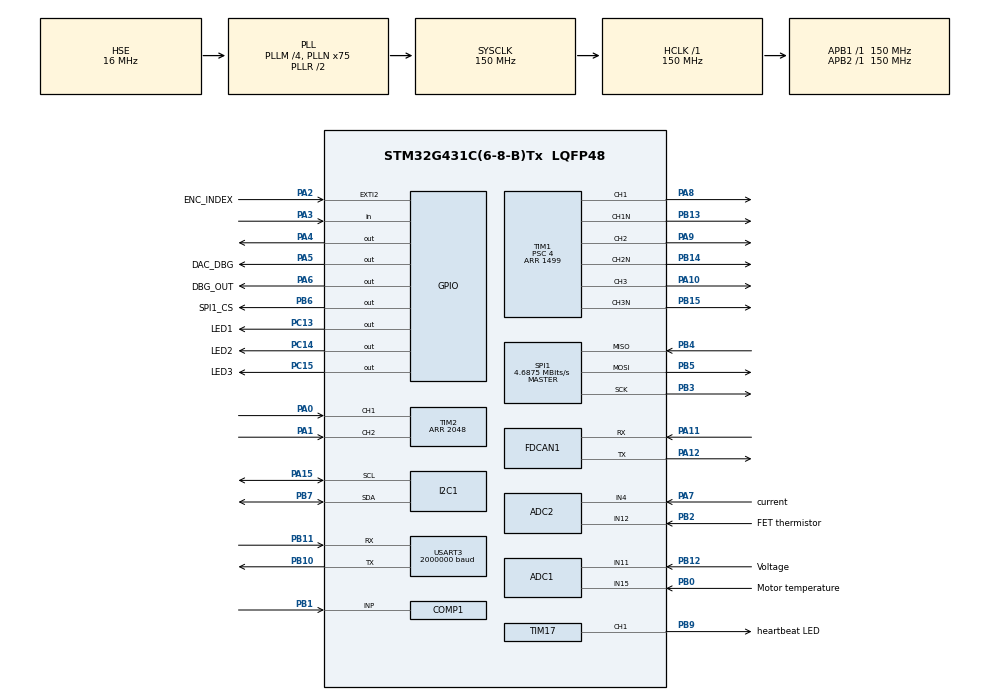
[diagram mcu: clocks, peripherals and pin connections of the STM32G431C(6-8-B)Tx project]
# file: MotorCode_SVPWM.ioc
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ADC1.Channel-1\#ChannelRegularConversion=ADC_CHANNEL_11
ADC1.NbrOfConversionFlag=1
ADC1.OffsetNumber-1\#ChannelRegularConversion=ADC_OFFSET_NONE
ADC1.Rank-1\#ChannelRegularConversion=1
ADC1.SamplingTime-1\#ChannelRegularConversion=ADC_SAMPLETIME_2CYCLES_5
ADC1.master=1
ADC2.Channel-0\#ChannelRegularConversion=ADC_CHANNEL_12
ADC2.NbrOfConversionFlag=1
ADC2.OffsetNumber-0\#ChannelRegularConversion=ADC_OFFSET_NONE
ADC2.Rank-0\#ChannelRegularConversion=1
ADC2.SamplingTime-0\#ChannelRegularConversion=ADC_SAMPLETIME_2CYCLES_5
Dma.Request0=USART3_TX
Dma.USART3_TX.0.Direction=DMA_MEMORY_TO_PERIPH
Dma.USART3_TX.0.EventEnable=DISABLE
Dma.USART3_TX.0.Instance=DMA1_Channel1
Dma.USART3_TX.0.MemDataAlignment=DMA_MDATAALIGN_BYTE
Dma.USART3_TX.0.MemInc=DMA_MINC_ENABLE
Dma.USART3_TX.0.Mode=DMA_NORMAL
Dma.USART3_TX.0.PeriphDataAlignment=DMA_PDATAALIGN_BYTE
Dma.USART3_TX.0.PeriphInc=DMA_PINC_DISABLE
Dma.USART3_TX.0.Polarity=HAL_DMAMUX_REQ_GEN_RISING
Dma.USART3_TX.0.Priority=DMA_PRIORITY_LOW
Dma.USART3_TX.0.RequestNumber=1
Dma.USART3_TX.0.SignalID=NONE
Dma.USART3_TX.0.SyncEnable=DISABLE
Dma.USART3_TX.0.SyncPolarity=HAL_DMAMUX_SYNC_NO_EVENT
Dma.USART3_TX.0.SyncRequestNumber=1
Dma.USART3_TX.0.SyncSignalID=NONE
FDCAN1.AutoRetransmission=ENABLE
FDCAN1.CalculateBaudRateNominal=5000000
FDCAN1.CalculateTimeBitNominal=200
FDCAN1.CalculateTimeQuantumNominal=6.666666666666667
FDCAN1.ClockDivider=FDCAN_CLOCK_DIV10
FDCAN1.DataPrescaler=1
FDCAN1.DataSyncJumpWidth=6
FDCAN1.DataTimeSeg1=23
FDCAN1.DataTimeSeg2=6
FDCAN1.FrameFormat=FDCAN_FRAME_FD_NO_BRS
FDCAN1.Mode=FDCAN_MODE_NORMAL
FDCAN1.NominalPrescaler=1
FDCAN1.NominalSyncJumpWidth=6
FDCAN1.NominalTimeSeg1=23
FDCAN1.NominalTimeSeg2=6
FDCAN1.StdFiltersNbr=1
I2C1.Timing=0x20C0EDFF
Mcu.Family=STM32G4
Mcu.Name=STM32G431C(6-8-B)Tx
Mcu.Package=LQFP48
NVIC.DMA1_Channel1_IRQn=true\:0\:0\:false\:false\:true\:false\:true\:true
NVIC.EXTI2_IRQn=true\:0\:0\:false\:false\:true\:true\:true\:true
NVIC.FDCAN1_IT0_IRQn=true\:0\:0\:false\:false\:true\:true\:true\:true
NVIC.PriorityGroup=NVIC_PRIORITYGROUP_4
NVIC.TIM1_UP_TIM16_IRQn=true\:0\:0\:false\:false\:true\:true\:true\:true
NVIC.TIM7_IRQn=true\:0\:0\:false\:false\:true\:true\:true\:true
NVIC.USART3_IRQn=true\:0\:0\:false\:false\:true\:true\:true\:true
PA0.Signal=S_TIM2_CH1
PA1.Signal=S_TIM2_CH2
PA10.Signal=S_TIM1_CH3
PA11.Mode=FDCAN_Activate
PA11.Signal=FDCAN1_RX
PA12.Mode=FDCAN_Activate
PA12.Signal=FDCAN1_TX
PA13.Mode=Serial_Wire
PA13.Signal=SYS_JTMS-SWDIO
PA14.Mode=Serial_Wire
PA14.Signal=SYS_JTCK-SWCLK
PA15.Mode=I2C
PA15.Signal=I2C1_SCL
PA2.GPIO_Label=ENC_INDEX
PA2.Signal=GPXTI2
PA3.Signal=GPIO_Input
PA4.Signal=GPIO_Output
PA5.GPIO_Label=DAC_DBG
PA5.Signal=GPIO_Output
PA6.GPIO_Label=DBG_OUT
PA6.Signal=GPIO_Output
PA7.GPIO_Label=current
PA7.Mode=IN4-Single-Ended
PA7.Signal=ADC2_IN4
PA8.Signal=S_TIM1_CH1
PA9.Signal=S_TIM1_CH2
PB0.GPIO_Label=Motor temperature
PB0.Mode=IN15-Single-Ended
PB0.Signal=ADC1_IN15
PB1.Mode=INP
PB1.Signal=COMP1_INP
PB10.Mode=Asynchronous
PB10.Signal=USART3_TX
PB11.Mode=Asynchronous
PB11.Signal=USART3_RX
PB12.GPIO_Label=Voltage
PB12.Mode=IN11-Single-Ended
PB12.Signal=ADC1_IN11
PB13.Mode=PWM Generation1 CH1 CH1N
PB13.Signal=TIM1_CH1N
PB14.Mode=PWM Generation2 CH2 CH2N
PB14.Signal=TIM1_CH2N
PB15.Mode=PWM Generation3 CH3 CH3N
PB15.Signal=TIM1_CH3N
PB2.GPIO_Label=FET thermistor
PB2.Mode=IN12-Single-Ended
PB2.Signal=ADC2_IN12
PB3.Mode=Full_Duplex_Master
PB3.Signal=SPI1_SCK
PB4.Mode=Full_Duplex_Master
PB4.Signal=SPI1_MISO
PB5.Mode=Full_Duplex_Master
PB5.Signal=SPI1_MOSI
PB6.GPIO_Label=SPI1_CS
PB6.GPIO_ModeDefaultOutputPP=GPIO_MODE_OUTPUT_PP
PB6.GPIO_PuPd=GPIO_NOPULL
PB6.PinState=GPIO_PIN_RESET
PB6.Signal=GPIO_Output
PB7.Mode=I2C
PB7.Signal=I2C1_SDA
PB9.GPIO_Label=heartbeat LED
PB9.Signal=S_TIM17_CH1
PC13.GPIO_Label=LED1
PC13.GPIO_ModeDefaultOutputPP=GPIO_MODE_OUTPUT_OD
PC13.GPIO_PuPd=GPIO_NOPULL
PC13.Signal=GPIO_Output
PC14-OSC32_IN.GPIO_Label=LED2
PC14-OSC32_IN.GPIO_ModeDefaultOutputPP=GPIO_MODE_OUTPUT_OD
PC14-OSC32_IN.GPIO_PuPd=GPIO_NOPULL
PC14-OSC32_IN.Signal=GPIO_Output
PC15-OSC32_OUT.GPIO_Label=LED3
PC15-OSC32_OUT.GPIO_ModeDefaultOutputPP=GPIO_MODE_OUTPUT_OD
PC15-OSC32_OUT.GPIO_PuPd=GPIO_NOPULL
PC15-OSC32_OUT.Signal=GPIO_Output
PF0-OSC_IN.Mode=HSE-External-Oscillator
PF0-OSC_IN.Signal=RCC_OSC_IN
PF1-OSC_OUT.Mode=HSE-External-Oscillator
PF1-OSC_OUT.Signal=RCC_OSC_OUT
ProjectManager.HeapSize=0x200
ProjectManager.StackSize=0x400
ProjectManager.TargetToolchain=STM32CubeIDE
RCC.ADC12Freq_Value=150000000
RCC.AHBFreq_Value=150000000
RCC.APB1Freq_Value=150000000
RCC.APB1TimFreq_Value=150000000
RCC.APB2Freq_Value=150000000
RCC.APB2TimFreq_Value=150000000
RCC.CortexFreq_Value=150000000
RCC.EXTERNAL_CLOCK_VALUE=12288000
RCC.HCLKFreq_Value=150000000
RCC.HSE_VALUE=16000000
RCC.HSI48_VALUE=48000000
RCC.HSI_VALUE=16000000
RCC.LSE_VALUE=32768
RCC.PLLM=RCC_PLLM_DIV4
RCC.PLLN=75
RCC.PLLSourceVirtual=RCC_PLLSOURCE_HSE
RCC.SYSCLKFreq_VALUE=150000000
RCC.SYSCLKSource=RCC_SYSCLKSOURCE_PLLCLK
RCC.USBFreq_Value=150000000
RCC.VCOOutputFreq_Value=300000000
SH.S_TIM17_CH1.0=TIM17_CH1,PWM Generation1 CH1
SH.S_TIM1_CH1.0=TIM1_CH1,PWM Generation1 CH1 CH1N
SH.S_TIM1_CH2.0=TIM1_CH2,PWM Generation2 CH2 CH2N
SH.S_TIM1_CH3.0=TIM1_CH3,PWM Generation3 CH3 CH3N
SH.S_TIM2_CH1.0=TIM2_CH1,Encoder_Interface
SH.S_TIM2_CH2.0=TIM2_CH2,Encoder_Interface
SPI1.BaudRatePrescaler=SPI_BAUDRATEPRESCALER_32
SPI1.CLKPhase=SPI_PHASE_2EDGE
SPI1.CalculateBaudRate=4.6875 MBits/s
SPI1.DataSize=SPI_DATASIZE_8BIT
SPI1.Direction=SPI_DIRECTION_2LINES
SPI1.Mode=SPI_MODE_MASTER
SPI1.VirtualType=VM_MASTER
TIM1.Channel-PWM\ Generation1\ CH1\ CH1N=TIM_CHANNEL_1
TIM1.Channel-PWM\ Generation2\ CH2\ CH2N=TIM_CHANNEL_2
TIM1.Channel-PWM\ Generation3\ CH3\ CH3N=TIM_CHANNEL_3
TIM1.CounterMode=TIM_COUNTERMODE_CENTERALIGNED1
TIM1.DeadTime=90
TIM1.DeadTimePreload=ENABLE
TIM1.OCMode_PWM-PWM\ Generation1\ CH1\ CH1N=TIM_OCMODE_PWM1
TIM1.OCNIdleState_1=TIM_OCNIDLESTATE_SET
TIM1.OCNIdleState_2=TIM_OCNIDLESTATE_SET
TIM1.OCNIdleState_3=TIM_OCNIDLESTATE_SET
TIM1.OCNPolarity_1=TIM_OCNPOLARITY_LOW
TIM1.OCNPolarity_2=TIM_OCNPOLARITY_LOW
TIM1.OCNPolarity_3=TIM_OCNPOLARITY_LOW
TIM1.PeriodNoDither=1499
TIM1.Prescaler=4
TIM17.Channel=TIM_CHANNEL_1
TIM17.ClockDivision=TIM_CLOCKDIVISION_DIV4
TIM17.PeriodNoDither=99
TIM17.Prescaler=169
TIM2.AutoReloadPreload=TIM_AUTORELOAD_PRELOAD_DISABLE
TIM2.CounterMode=TIM_COUNTERMODE_DOWN
TIM2.EncoderMode=TIM_ENCODERMODE_TI12
TIM2.PeriodNoDither=2048
TIM7.AutoReloadPreload=TIM_AUTORELOAD_PRELOAD_ENABLE
TIM7.PeriodNoDither=1499
TIM7.Prescaler=99
TIM7.TIM_MasterOutputTrigger=TIM_TRGO_RESET
USART3.BaudRate=2000000
USART3.Mode=MODE_TX
USART3.VirtualMode-Asynchronous=VM_ASYNC
VP_COMP1_VS_DAC3OUT1.Mode=INM_DAC3OUT1
VP_DAC3_VS_DACI1.Mode=DAC_OUT1_Int
VP_SYS_VS_DBSignals.Mode=DisableDeadBatterySignals
VP_TIM17_VS_ClockSourceINT.Mode=Enable_Timer
VP_TIM1_VS_ClockSourceINT.Mode=Internal
VP_TIM7_VS_ClockSourceINT.Mode=Enable_Timer
board=custom

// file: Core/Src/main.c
/* USER CODE BEGIN Header */
/**
  ******************************************************************************
  * @file           : main.c
  * @brief          : Main program body
  ******************************************************************************
  * @attention
  *
  * Copyright (c) 2023 STMicroelectronics.
  * All rights reserved.
  *
  * This software is licensed under terms that can be found in the LICENSE file
  * in the root directory of this software component.
  * If no LICENSE file comes with this software, it is provided AS-IS.
  *
  ******************************************************************************
  */
/* USER CODE END Header */
#include "main.h"

/* USER CODE BEGIN Includes */
#include "AS5x47P.h"
#include "EncoderCalibration.h"
#include "SVPWM.h"
/* USER CODE END Includes */

/* USER CODE BEGIN PD */
#define SPI_RDNG_TO_MECH_ANGLE 0.0220 // (360/16384)
#define SPI_RDNG_TO_ENC_CNT  0.125 // (2048/16384 = 0.122)
#define ENC_CNT_TO_MECH_ANGLE 0.1758  // (360/2048)
/* USER CODE END PD */

ADC_HandleTypeDef hadc1;
ADC_HandleTypeDef hadc2;

COMP_HandleTypeDef hcomp1;

DAC_HandleTypeDef hdac3;

FDCAN_HandleTypeDef hfdcan1;

I2C_HandleTypeDef hi2c1;

SPI_HandleTypeDef hspi1;

TIM_HandleTypeDef htim1;
TIM_HandleTypeDef htim2;
TIM_HandleTypeDef htim7;
TIM_HandleTypeDef htim17;

UART_HandleTypeDef huart3;
DMA_HandleTypeDef hdma_usart3_tx;

/* USER CODE BEGIN PV */
RotorSpeedPos rtrSpdPosObj;
SVPWM svpwmObj;

/* USER CODE END PV */

void SystemClock_Config(void);
static void MX_GPIO_Init(void);
static void MX_DMA_Init(void);
static void MX_ADC1_Init(void);
static void MX_ADC2_Init(void);
static void MX_COMP1_Init(void);
static void MX_DAC3_Init(void);
static void MX_FDCAN1_Init(void);
static void MX_I2C1_Init(void);
static void MX_SPI1_Init(void);
static void MX_TIM1_Init(void);
static void MX_TIM2_Init(void);
static void MX_TIM17_Init(void);
static void MX_USART3_UART_Init(void);
static void MX_TIM7_Init(void);

/* USER CODE BEGIN 0 */
Settings1 settings1Reg;
Settings2 settings2Reg;
uint8_t abiSettingsOK = 0;
uint16_t zeroPos;
uint8_t zeroRegisterUpdated = 0;
uint16_t startingAngle16Bit= 0;
float startingAngleMech = 0;
int startingCNT_val = 0;
float angleMech_encCnt = 0;
uint16_t encoderCNT = 0;

uint8_t motorStart = 0;

uint16_t angleData = 0;
uint16_t angleMech = 0;
uint16_t target = 0;
/* USER CODE END 0 */

int main(void)
{

  /* MCU Configuration--------------------------------------------------------*/

  /* Reset of all peripherals, Initializes the Flash interface and the Systick. */
  HAL_Init();

  /* Configure the system clock */
  SystemClock_Config();

  /* Initialize all configured peripherals */
  MX_GPIO_Init();
  MX_DMA_Init();
  MX_ADC1_Init();
  MX_ADC2_Init();
  MX_COMP1_Init();
  MX_DAC3_Init();
  MX_FDCAN1_Init();
  MX_I2C1_Init();
  MX_SPI1_Init();
  MX_TIM1_Init();
  MX_TIM2_Init();
  MX_TIM17_Init();
  MX_USART3_UART_Init();
  MX_TIM7_Init();
  /* USER CODE BEGIN 2 */

  HAL_GPIO_WritePin(SPI1_CS_GPIO_Port, SPI1_CS_Pin, GPIO_PIN_SET);
  //SET UP ABI mode.
  SetupABIwithoutPWM();
  settings1Reg.raw = AS5047_readRegister(SETTINGS1_REG,0);
  settings2Reg.raw = AS5047_readRegister(SETTINGS2_REG,0);
  abiSettingsOK = Check_ABI_SetCorrectly(settings1Reg,settings2Reg);

  uint16_t zeroValue = 1175;
  zeroPos = getProgrammedZeroOffset();
  zeroRegisterUpdated = 0;
  if (zeroPos != zeroValue){
	writeZeroReg(zeroValue); //function must check if it got back the same value it wrote.
	zeroRegisterUpdated = 1;
	zeroPos = getProgrammedZeroOffset();
	//to check if this value is same as what we wrote
  }

  //start the encoder
  HAL_TIM_Encoder_Start_IT(&htim2,TIM_CHANNEL_ALL);
  //get the current angle and set it in the timer CNT register.
  startingAngle16Bit = GetAveragedAngleReading(10);  // take the average of 10 readings and then take that as the starting angle.
  startingAngleMech = startingAngle16Bit * SPI_RDNG_TO_MECH_ANGLE;
  startingCNT_val = (int)((startingAngle16Bit * SPI_RDNG_TO_ENC_CNT)+0.5f); // rounded
  __HAL_TIM_SET_COUNTER(&htim2,startingCNT_val);

  //SETUP SVPWM
  initSVPWM(&svpwmObj);
  init_RtrSpdPos(&rtrSpdPosObj,startingAngle16Bit); // set the rotor to the current rotor position

  //HAL_TIM_Base_Start_IT(&htim7); // 1 ms interrupt for speed calculation

  //Start PWM

  HAL_TIM_Base_Start_IT(&htim1);
  HAL_TIM_PWM_Start_IT(&htim1,TIM_CHANNEL_1);
  HAL_TIMEx_PWMN_Start_IT(&htim1,TIM_CHANNEL_1);

  HAL_TIM_PWM_Start_IT(&htim1,TIM_CHANNEL_2);
  HAL_TIMEx_PWMN_Start_IT(&htim1,TIM_CHANNEL_2);

  HAL_TIM_PWM_Start_IT(&htim1,TIM_CHANNEL_3);
  HAL_TIMEx_PWMN_Start_IT(&htim1,TIM_CHANNEL_3);

  htim1.Instance->CCR1 = 0; // highest value is 1499
  htim1.Instance->CCR2 = 0; // highest value is 1499
  htim1.Instance->CCR3 = 0; // highest value is 1499

  /* USER CODE END 2 */

  /* Infinite loop */
  /* USER CODE BEGIN WHILE */
  while (1)
  {
	  HAL_GPIO_TogglePin(GPIOC,LED1_Pin);
	  HAL_Delay(100);
	  HAL_GPIO_TogglePin(GPIOC,LED2_Pin);
	  HAL_Delay(100);
	  HAL_GPIO_TogglePin(GPIOC,LED3_Pin);
	  HAL_Delay(100);
	  //motorStart = 1;

	  rtrSpdPosObj.MSpd_RPM = target;
	  update_RtrSpd(&rtrSpdPosObj); // goes later into a  1ms timer

	  //angleData =  AS5047_readRegister(ANGLE_REG,0)//TODO why does this fn not work?;

	  /* To check if the ABI connections are correct, read both the SPI and the Enc counts and make sure they are very close
   	   to each other and increase in the same direction! */
	  encoderCNT = htim2.Instance->CNT;
	  angleMech_encCnt = encoderCNT * ENC_CNT_TO_MECH_ANGLE;

	  angleData = angleReading();
	  angleMech = angleData*360.0/16384;

    /* USER CODE END WHILE */

  }
}

void SystemClock_Config(void)
{
  RCC_OscInitTypeDef RCC_OscInitStruct = {0};
  RCC_ClkInitTypeDef RCC_ClkInitStruct = {0};

  /** Configure the main internal regulator output voltage
  */
  HAL_PWREx_ControlVoltageScaling(PWR_REGULATOR_VOLTAGE_SCALE1);

  /** Initializes the RCC Oscillators according to the specified parameters
  * in the RCC_OscInitTypeDef structure.
  */
  RCC_OscInitStruct.OscillatorType = RCC_OSCILLATORTYPE_HSE;
  RCC_OscInitStruct.HSEState = RCC_HSE_ON;
  RCC_OscInitStruct.PLL.PLLState = RCC_PLL_ON;
  RCC_OscInitStruct.PLL.PLLSource = RCC_PLLSOURCE_HSE;
  RCC_OscInitStruct.PLL.PLLM = RCC_PLLM_DIV4;
  RCC_OscInitStruct.PLL.PLLN = 75;
  RCC_OscInitStruct.PLL.PLLP = RCC_PLLP_DIV2;
  RCC_OscInitStruct.PLL.PLLQ = RCC_PLLQ_DIV2;
  RCC_OscInitStruct.PLL.PLLR = RCC_PLLR_DIV2;
  if (HAL_RCC_OscConfig(&RCC_OscInitStruct) != HAL_OK)
  {
    Error_Handler();
  }

  /** Initializes the CPU, AHB and APB buses clocks
  */
  RCC_ClkInitStruct.ClockType = RCC_CLOCKTYPE_HCLK|RCC_CLOCKTYPE_SYSCLK
                              |RCC_CLOCKTYPE_PCLK1|RCC_CLOCKTYPE_PCLK2;
  RCC_ClkInitStruct.SYSCLKSource = RCC_SYSCLKSOURCE_PLLCLK;
  RCC_ClkInitStruct.AHBCLKDivider = RCC_SYSCLK_DIV1;
  RCC_ClkInitStruct.APB1CLKDivider = RCC_HCLK_DIV1;
  RCC_ClkInitStruct.APB2CLKDivider = RCC_HCLK_DIV1;

  if (HAL_RCC_ClockConfig(&RCC_ClkInitStruct, FLASH_LATENCY_4) != HAL_OK)
  {
    Error_Handler();
  }
}

static void MX_ADC1_Init(void)
{

  ADC_MultiModeTypeDef multimode = {0};
  ADC_ChannelConfTypeDef sConfig = {0};

  /** Common config
  */
  hadc1.Instance = ADC1;
  hadc1.Init.ClockPrescaler = ADC_CLOCK_SYNC_PCLK_DIV4;
  hadc1.Init.Resolution = ADC_RESOLUTION_12B;
  hadc1.Init.DataAlign = ADC_DATAALIGN_RIGHT;
  hadc1.Init.GainCompensation = 0;
  hadc1.Init.ScanConvMode = ADC_SCAN_DISABLE;
  hadc1.Init.EOCSelection = ADC_EOC_SINGLE_CONV;
  hadc1.Init.LowPowerAutoWait = DISABLE;
  hadc1.Init.ContinuousConvMode = DISABLE;
  hadc1.Init.NbrOfConversion = 1;
  hadc1.Init.DiscontinuousConvMode = DISABLE;
  hadc1.Init.ExternalTrigConv = ADC_SOFTWARE_START;
  hadc1.Init.ExternalTrigConvEdge = ADC_EXTERNALTRIGCONVEDGE_NONE;
  hadc1.Init.DMAContinuousRequests = DISABLE;
  hadc1.Init.Overrun = ADC_OVR_DATA_PRESERVED;
  hadc1.Init.OversamplingMode = DISABLE;
  if (HAL_ADC_Init(&hadc1) != HAL_OK)
  {
    Error_Handler();
  }

  /** Configure the ADC multi-mode
  */
  multimode.Mode = ADC_MODE_INDEPENDENT;
  if (HAL_ADCEx_MultiModeConfigChannel(&hadc1, &multimode) != HAL_OK)
  {
    Error_Handler();
  }

  /** Configure Regular Channel
  */
  sConfig.Channel = ADC_CHANNEL_11;
  sConfig.Rank = ADC_REGULAR_RANK_1;
  sConfig.SamplingTime = ADC_SAMPLETIME_2CYCLES_5;
  sConfig.SingleDiff = ADC_SINGLE_ENDED;
  sConfig.OffsetNumber = ADC_OFFSET_NONE;
  sConfig.Offset = 0;
  if (HAL_ADC_ConfigChannel(&hadc1, &sConfig) != HAL_OK)
  {
    Error_Handler();
  }

}

static void MX_ADC2_Init(void)
{

  ADC_ChannelConfTypeDef sConfig = {0};

  /** Common config
  */
  hadc2.Instance = ADC2;
  hadc2.Init.ClockPrescaler = ADC_CLOCK_SYNC_PCLK_DIV4;
  hadc2.Init.Resolution = ADC_RESOLUTION_12B;
  hadc2.Init.DataAlign = ADC_DATAALIGN_RIGHT;
  hadc2.Init.GainCompensation = 0;
  hadc2.Init.ScanConvMode = ADC_SCAN_DISABLE;
  hadc2.Init.EOCSelection = ADC_EOC_SINGLE_CONV;
  hadc2.Init.LowPowerAutoWait = DISABLE;
  hadc2.Init.ContinuousConvMode = DISABLE;
  hadc2.Init.NbrOfConversion = 1;
  hadc2.Init.DiscontinuousConvMode = DISABLE;
  hadc2.Init.ExternalTrigConv = ADC_SOFTWARE_START;
  hadc2.Init.ExternalTrigConvEdge = ADC_EXTERNALTRIGCONVEDGE_NONE;
  hadc2.Init.DMAContinuousRequests = DISABLE;
  hadc2.Init.Overrun = ADC_OVR_DATA_PRESERVED;
  hadc2.Init.OversamplingMode = DISABLE;
  if (HAL_ADC_Init(&hadc2) != HAL_OK)
  {
    Error_Handler();
  }

  /** Configure Regular Channel
  */
  sConfig.Channel = ADC_CHANNEL_12;
  sConfig.Rank = ADC_REGULAR_RANK_1;
  sConfig.SamplingTime = ADC_SAMPLETIME_2CYCLES_5;
  sConfig.SingleDiff = ADC_SINGLE_ENDED;
  sConfig.OffsetNumber = ADC_OFFSET_NONE;
  sConfig.Offset = 0;
  if (HAL_ADC_ConfigChannel(&hadc2, &sConfig) != HAL_OK)
  {
    Error_Handler();
  }

}

static void MX_COMP1_Init(void)
{

  hcomp1.Instance = COMP1;
  hcomp1.Init.InputPlus = COMP_INPUT_PLUS_IO2;
  hcomp1.Init.InputMinus = COMP_INPUT_MINUS_DAC3_CH1;
  hcomp1.Init.OutputPol = COMP_OUTPUTPOL_NONINVERTED;
  hcomp1.Init.Hysteresis = COMP_HYSTERESIS_NONE;
  hcomp1.Init.BlankingSrce = COMP_BLANKINGSRC_NONE;
  hcomp1.Init.TriggerMode = COMP_TRIGGERMODE_NONE;
  if (HAL_COMP_Init(&hcomp1) != HAL_OK)
  {
    Error_Handler();
  }

}

static void MX_DAC3_Init(void)
{

  DAC_ChannelConfTypeDef sConfig = {0};

  /** DAC Initialization
  */
  hdac3.Instance = DAC3;
  if (HAL_DAC_Init(&hdac3) != HAL_OK)
  {
    Error_Handler();
  }

  /** DAC channel OUT1 config
  */
  sConfig.DAC_HighFrequency = DAC_HIGH_FREQUENCY_INTERFACE_MODE_AUTOMATIC;
  sConfig.DAC_DMADoubleDataMode = DISABLE;
  sConfig.DAC_SignedFormat = DISABLE;
  sConfig.DAC_SampleAndHold = DAC_SAMPLEANDHOLD_DISABLE;
  sConfig.DAC_Trigger = DAC_TRIGGER_NONE;
  sConfig.DAC_Trigger2 = DAC_TRIGGER_NONE;
  sConfig.DAC_OutputBuffer = DAC_OUTPUTBUFFER_DISABLE;
  sConfig.DAC_ConnectOnChipPeripheral = DAC_CHIPCONNECT_INTERNAL;
  sConfig.DAC_UserTrimming = DAC_TRIMMING_FACTORY;
  if (HAL_DAC_ConfigChannel(&hdac3, &sConfig, DAC_CHANNEL_1) != HAL_OK)
  {
    Error_Handler();
  }

}

static void MX_FDCAN1_Init(void)
{

  hfdcan1.Instance = FDCAN1;
  hfdcan1.Init.ClockDivider = FDCAN_CLOCK_DIV10;
  hfdcan1.Init.FrameFormat = FDCAN_FRAME_FD_NO_BRS;
  hfdcan1.Init.Mode = FDCAN_MODE_NORMAL;
  hfdcan1.Init.AutoRetransmission = ENABLE;
  hfdcan1.Init.TransmitPause = DISABLE;
  hfdcan1.Init.ProtocolException = DISABLE;
  hfdcan1.Init.NominalPrescaler = 1;
  hfdcan1.Init.NominalSyncJumpWidth = 6;
  hfdcan1.Init.NominalTimeSeg1 = 23;
  hfdcan1.Init.NominalTimeSeg2 = 6;
  hfdcan1.Init.DataPrescaler = 1;
  hfdcan1.Init.DataSyncJumpWidth = 6;
  hfdcan1.Init.DataTimeSeg1 = 23;
  hfdcan1.Init.DataTimeSeg2 = 6;
  hfdcan1.Init.StdFiltersNbr = 1;
  hfdcan1.Init.ExtFiltersNbr = 0;
  hfdcan1.Init.TxFifoQueueMode = FDCAN_TX_FIFO_OPERATION;
  if (HAL_FDCAN_Init(&hfdcan1) != HAL_OK)
  {
    Error_Handler();
  }

}

static void MX_I2C1_Init(void)
{

  hi2c1.Instance = I2C1;
  hi2c1.Init.Timing = 0x20C0EDFF;
  hi2c1.Init.OwnAddress1 = 0;
  hi2c1.Init.AddressingMode = I2C_ADDRESSINGMODE_7BIT;
  hi2c1.Init.DualAddressMode = I2C_DUALADDRESS_DISABLE;
  hi2c1.Init.OwnAddress2 = 0;
  hi2c1.Init.OwnAddress2Masks = I2C_OA2_NOMASK;
  hi2c1.Init.GeneralCallMode = I2C_GENERALCALL_DISABLE;
  hi2c1.Init.NoStretchMode = I2C_NOSTRETCH_DISABLE;
  if (HAL_I2C_Init(&hi2c1) != HAL_OK)
  {
    Error_Handler();
  }

  /** Configure Analogue filter
  */
  if (HAL_I2CEx_ConfigAnalogFilter(&hi2c1, I2C_ANALOGFILTER_ENABLE) != HAL_OK)
  {
    Error_Handler();
  }

  /** Configure Digital filter
  */
  if (HAL_I2CEx_ConfigDigitalFilter(&hi2c1, 0) != HAL_OK)
  {
    Error_Handler();
  }

}

static void MX_SPI1_Init(void)
{

  /* SPI1 parameter configuration*/
  hspi1.Instance = SPI1;
  hspi1.Init.Mode = SPI_MODE_MASTER;
  hspi1.Init.Direction = SPI_DIRECTION_2LINES;
  hspi1.Init.DataSize = SPI_DATASIZE_8BIT;
  hspi1.Init.CLKPolarity = SPI_POLARITY_LOW;
  hspi1.Init.CLKPhase = SPI_PHASE_2EDGE;
  hspi1.Init.NSS = SPI_NSS_SOFT;
  hspi1.Init.BaudRatePrescaler = SPI_BAUDRATEPRESCALER_32;
  hspi1.Init.FirstBit = SPI_FIRSTBIT_MSB;
  hspi1.Init.TIMode = SPI_TIMODE_DISABLE;
  hspi1.Init.CRCCalculation = SPI_CRCCALCULATION_DISABLE;
  hspi1.Init.CRCPolynomial = 7;
  hspi1.Init.CRCLength = SPI_CRC_LENGTH_DATASIZE;
  hspi1.Init.NSSPMode = SPI_NSS_PULSE_DISABLE;
  if (HAL_SPI_Init(&hspi1) != HAL_OK)
  {
    Error_Handler();
  }

}

static void MX_TIM1_Init(void)
{

  TIM_ClockConfigTypeDef sClockSourceConfig = {0};
  TIM_MasterConfigTypeDef sMasterConfig = {0};
  TIM_OC_InitTypeDef sConfigOC = {0};
  TIM_BreakDeadTimeConfigTypeDef sBreakDeadTimeConfig = {0};

  htim1.Instance = TIM1;
  htim1.Init.Prescaler = 4;
  htim1.Init.CounterMode = TIM_COUNTERMODE_CENTERALIGNED1;
  htim1.Init.Period = 1499;
  htim1.Init.ClockDivision = TIM_CLOCKDIVISION_DIV1;
  htim1.Init.RepetitionCounter = 0;
  htim1.Init.AutoReloadPreload = TIM_AUTORELOAD_PRELOAD_DISABLE;
  if (HAL_TIM_Base_Init(&htim1) != HAL_OK)
  {
    Error_Handler();
  }
  sClockSourceConfig.ClockSource = TIM_CLOCKSOURCE_INTERNAL;
  if (HAL_TIM_ConfigClockSource(&htim1, &sClockSourceConfig) != HAL_OK)
  {
    Error_Handler();
  }
  if (HAL_TIM_PWM_Init(&htim1) != HAL_OK)
  {
    Error_Handler();
  }
  sMasterConfig.MasterOutputTrigger = TIM_TRGO_RESET;
  sMasterConfig.MasterOutputTrigger2 = TIM_TRGO2_RESET;
  sMasterConfig.MasterSlaveMode = TIM_MASTERSLAVEMODE_DISABLE;
  if (HAL_TIMEx_MasterConfigSynchronization(&htim1, &sMasterConfig) != HAL_OK)
  {
    Error_Handler();
  }
  sConfigOC.OCMode = TIM_OCMODE_PWM1;
  sConfigOC.Pulse = 0;
  sConfigOC.OCPolarity = TIM_OCPOLARITY_HIGH;
  sConfigOC.OCNPolarity = TIM_OCNPOLARITY_LOW;
  sConfigOC.OCFastMode = TIM_OCFAST_DISABLE;
  sConfigOC.OCIdleState = TIM_OCIDLESTATE_RESET;
  sConfigOC.OCNIdleState = TIM_OCNIDLESTATE_SET;
  if (HAL_TIM_PWM_ConfigChannel(&htim1, &sConfigOC, TIM_CHANNEL_1) != HAL_OK)
  {
    Error_Handler();
  }
  if (HAL_TIM_PWM_ConfigChannel(&htim1, &sConfigOC, TIM_CHANNEL_2) != HAL_OK)
  {
    Error_Handler();
  }
  if (HAL_TIM_PWM_ConfigChannel(&htim1, &sConfigOC, TIM_CHANNEL_3) != HAL_OK)
  {
    Error_Handler();
  }
  HAL_TIMEx_EnableDeadTimePreload(&htim1);
  sBreakDeadTimeConfig.OffStateRunMode = TIM_OSSR_DISABLE;
  sBreakDeadTimeConfig.OffStateIDLEMode = TIM_OSSI_DISABLE;
  sBreakDeadTimeConfig.LockLevel = TIM_LOCKLEVEL_OFF;
  sBreakDeadTimeConfig.DeadTime = 90;
  sBreakDeadTimeConfig.BreakState = TIM_BREAK_DISABLE;
  sBreakDeadTimeConfig.BreakPolarity = TIM_BREAKPOLARITY_HIGH;
  sBreakDeadTimeConfig.BreakFilter = 0;
  sBreakDeadTimeConfig.BreakAFMode = TIM_BREAK_AFMODE_INPUT;
  sBreakDeadTimeConfig.Break2State = TIM_BREAK2_DISABLE;
  sBreakDeadTimeConfig.Break2Polarity = TIM_BREAK2POLARITY_HIGH;
  sBreakDeadTimeConfig.Break2Filter = 0;
  sBreakDeadTimeConfig.Break2AFMode = TIM_BREAK_AFMODE_INPUT;
  sBreakDeadTimeConfig.AutomaticOutput = TIM_AUTOMATICOUTPUT_DISABLE;
  if (HAL_TIMEx_ConfigBreakDeadTime(&htim1, &sBreakDeadTimeConfig) != HAL_OK)
  {
    Error_Handler();
  }
  HAL_TIM_MspPostInit(&htim1);

}

static void MX_TIM2_Init(void)
{

  TIM_Encoder_InitTypeDef sConfig = {0};
  TIM_MasterConfigTypeDef sMasterConfig = {0};

  htim2.Instance = TIM2;
  htim2.Init.Prescaler = 0;
  htim2.Init.CounterMode = TIM_COUNTERMODE_DOWN;
  htim2.Init.Period = 2048;
  htim2.Init.ClockDivision = TIM_CLOCKDIVISION_DIV1;
  htim2.Init.AutoReloadPreload = TIM_AUTORELOAD_PRELOAD_DISABLE;
  sConfig.EncoderMode = TIM_ENCODERMODE_TI12;
  sConfig.IC1Polarity = TIM_ICPOLARITY_RISING;
  sConfig.IC1Selection = TIM_ICSELECTION_DIRECTTI;
  sConfig.IC1Prescaler = TIM_ICPSC_DIV1;
  sConfig.IC1Filter = 0;
  sConfig.IC2Polarity = TIM_ICPOLARITY_RISING;
  sConfig.IC2Selection = TIM_ICSELECTION_DIRECTTI;
  sConfig.IC2Prescaler = TIM_ICPSC_DIV1;
  sConfig.IC2Filter = 0;
  if (HAL_TIM_Encoder_Init(&htim2, &sConfig) != HAL_OK)
  {
    Error_Handler();
  }
  sMasterConfig.MasterOutputTrigger = TIM_TRGO_RESET;
  sMasterConfig.MasterSlaveMode = TIM_MASTERSLAVEMODE_DISABLE;
  if (HAL_TIMEx_MasterConfigSynchronization(&htim2, &sMasterConfig) != HAL_OK)
  {
    Error_Handler();
  }

}

static void MX_TIM7_Init(void)
{

  TIM_MasterConfigTypeDef sMasterConfig = {0};

  htim7.Instance = TIM7;
  htim7.Init.Prescaler = 99;
  htim7.Init.CounterMode = TIM_COUNTERMODE_UP;
  htim7.Init.Period = 1499;
  htim7.Init.AutoReloadPreload = TIM_AUTORELOAD_PRELOAD_ENABLE;
  if (HAL_TIM_Base_Init(&htim7) != HAL_OK)
  {
    Error_Handler();
  }
  sMasterConfig.MasterOutputTrigger = TIM_TRGO_RESET;
  sMasterConfig.MasterSlaveMode = TIM_MASTERSLAVEMODE_DISABLE;
  if (HAL_TIMEx_MasterConfigSynchronization(&htim7, &sMasterConfig) != HAL_OK)
  {
    Error_Handler();
  }

}

static void MX_TIM17_Init(void)
{

  TIM_OC_InitTypeDef sConfigOC = {0};
  TIM_BreakDeadTimeConfigTypeDef sBreakDeadTimeConfig = {0};

  htim17.Instance = TIM17;
  htim17.Init.Prescaler = 169;
  htim17.Init.CounterMode = TIM_COUNTERMODE_UP;
  htim17.Init.Period = 99;
  htim17.Init.ClockDivision = TIM_CLOCKDIVISION_DIV4;
  htim17.Init.RepetitionCounter = 0;
  htim17.Init.AutoReloadPreload = TIM_AUTORELOAD_PRELOAD_DISABLE;
  if (HAL_TIM_Base_Init(&htim17) != HAL_OK)
  {
    Error_Handler();
  }
  if (HAL_TIM_PWM_Init(&htim17) != HAL_OK)
  {
    Error_Handler();
  }
  sConfigOC.OCMode = TIM_OCMODE_PWM1;
  sConfigOC.Pulse = 0;
  sConfigOC.OCPolarity = TIM_OCPOLARITY_HIGH;
  sConfigOC.OCNPolarity = TIM_OCNPOLARITY_HIGH;
  sConfigOC.OCFastMode = TIM_OCFAST_DISABLE;
  sConfigOC.OCIdleState = TIM_OCIDLESTATE_RESET;
  sConfigOC.OCNIdleState = TIM_OCNIDLESTATE_RESET;
  if (HAL_TIM_PWM_ConfigChannel(&htim17, &sConfigOC, TIM_CHANNEL_1) != HAL_OK)
  {
    Error_Handler();
  }
  sBreakDeadTimeConfig.OffStateRunMode = TIM_OSSR_DISABLE;
  sBreakDeadTimeConfig.OffStateIDLEMode = TIM_OSSI_DISABLE;
  sBreakDeadTimeConfig.LockLevel = TIM_LOCKLEVEL_OFF;
  sBreakDeadTimeConfig.DeadTime = 0;
  sBreakDeadTimeConfig.BreakState = TIM_BREAK_DISABLE;
  sBreakDeadTimeConfig.BreakPolarity = TIM_BREAKPOLARITY_HIGH;
  sBreakDeadTimeConfig.BreakFilter = 0;
  sBreakDeadTimeConfig.AutomaticOutput = TIM_AUTOMATICOUTPUT_DISABLE;
  if (HAL_TIMEx_ConfigBreakDeadTime(&htim17, &sBreakDeadTimeConfig) != HAL_OK)
  {
    Error_Handler();
  }
  HAL_TIM_MspPostInit(&htim17);

}

static void MX_USART3_UART_Init(void)
{

  huart3.Instance = USART3;
  huart3.Init.BaudRate = 2000000;
  huart3.Init.WordLength = UART_WORDLENGTH_8B;
  huart3.Init.StopBits = UART_STOPBITS_1;
  huart3.Init.Parity = UART_PARITY_NONE;
  huart3.Init.Mode = UART_MODE_TX;
  huart3.Init.HwFlowCtl = UART_HWCONTROL_NONE;
  huart3.Init.OverSampling = UART_OVERSAMPLING_16;
  huart3.Init.OneBitSampling = UART_ONE_BIT_SAMPLE_DISABLE;
  huart3.Init.ClockPrescaler = UART_PRESCALER_DIV1;
  huart3.AdvancedInit.AdvFeatureInit = UART_ADVFEATURE_NO_INIT;
  if (HAL_UART_Init(&huart3) != HAL_OK)
  {
    Error_Handler();
  }
  if (HAL_UARTEx_SetTxFifoThreshold(&huart3, UART_TXFIFO_THRESHOLD_1_8) != HAL_OK)
  {
    Error_Handler();
  }
  if (HAL_UARTEx_SetRxFifoThreshold(&huart3, UART_RXFIFO_THRESHOLD_1_8) != HAL_OK)
  {
    Error_Handler();
  }
  if (HAL_UARTEx_DisableFifoMode(&huart3) != HAL_OK)
  {
    Error_Handler();
  }

}

static void MX_DMA_Init(void)
{

  /* DMA controller clock enable */
  __HAL_RCC_DMAMUX1_CLK_ENABLE();
  __HAL_RCC_DMA1_CLK_ENABLE();

  /* DMA interrupt init */
  /* DMA1_Channel1_IRQn interrupt configuration */
  HAL_NVIC_SetPriority(DMA1_Channel1_IRQn, 0, 0);
  HAL_NVIC_EnableIRQ(DMA1_Channel1_IRQn);

}

static void MX_GPIO_Init(void)
{
  GPIO_InitTypeDef GPIO_InitStruct = {0};

  /* GPIO Ports Clock Enable */
  __HAL_RCC_GPIOC_CLK_ENABLE();
  __HAL_RCC_GPIOF_CLK_ENABLE();
  __HAL_RCC_GPIOA_CLK_ENABLE();
  __HAL_RCC_GPIOB_CLK_ENABLE();

  /*Configure GPIO pin Output Level */
  HAL_GPIO_WritePin(GPIOC, LED1_Pin|LED2_Pin|LED3_Pin, GPIO_PIN_RESET);

  /*Configure GPIO pin Output Level */
  HAL_GPIO_WritePin(GPIOA, GPIO_PIN_4|DAC_DBG_Pin|DBG_OUT_Pin, GPIO_PIN_RESET);

  /*Configure GPIO pin Output Level */
  HAL_GPIO_WritePin(SPI1_CS_GPIO_Port, SPI1_CS_Pin, GPIO_PIN_RESET);

  /*Configure GPIO pins : LED1_Pin LED2_Pin LED3_Pin */
  GPIO_InitStruct.Pin = LED1_Pin|LED2_Pin|LED3_Pin;
  GPIO_InitStruct.Mode = GPIO_MODE_OUTPUT_OD;
  GPIO_InitStruct.Pull = GPIO_NOPULL;
  GPIO_InitStruct.Speed = GPIO_SPEED_FREQ_LOW;
  HAL_GPIO_Init(GPIOC, &GPIO_InitStruct);

  /*Configure GPIO pin : ENC_INDEX_Pin */
  GPIO_InitStruct.Pin = ENC_INDEX_Pin;
  GPIO_InitStruct.Mode = GPIO_MODE_IT_RISING;
  GPIO_InitStruct.Pull = GPIO_NOPULL;
  HAL_GPIO_Init(ENC_INDEX_GPIO_Port, &GPIO_InitStruct);

  /*Configure GPIO pin : PA3 */
  GPIO_InitStruct.Pin = GPIO_PIN_3;
  GPIO_InitStruct.Mode = GPIO_MODE_INPUT;
  GPIO_InitStruct.Pull = GPIO_NOPULL;
  HAL_GPIO_Init(GPIOA, &GPIO_InitStruct);

  /*Configure GPIO pins : PA4 DAC_DBG_Pin DBG_OUT_Pin */
  GPIO_InitStruct.Pin = GPIO_PIN_4|DAC_DBG_Pin|DBG_OUT_Pin;
  GPIO_InitStruct.Mode = GPIO_MODE_OUTPUT_PP;
  GPIO_InitStruct.Pull = GPIO_NOPULL;
  GPIO_InitStruct.Speed = GPIO_SPEED_FREQ_LOW;
  HAL_GPIO_Init(GPIOA, &GPIO_InitStruct);

  /*Configure GPIO pin : SPI1_CS_Pin */
  GPIO_InitStruct.Pin = SPI1_CS_Pin;
  GPIO_InitStruct.Mode = GPIO_MODE_OUTPUT_PP;
  GPIO_InitStruct.Pull = GPIO_NOPULL;
  GPIO_InitStruct.Speed = GPIO_SPEED_FREQ_LOW;
  HAL_GPIO_Init(SPI1_CS_GPIO_Port, &GPIO_InitStruct);

  /* EXTI interrupt init*/
  HAL_NVIC_SetPriority(EXTI2_IRQn, 0, 0);
  HAL_NVIC_EnableIRQ(EXTI2_IRQn);

}

void Error_Handler(void)
{
  __disable_irq();
  while (1)
  {
  }
}
